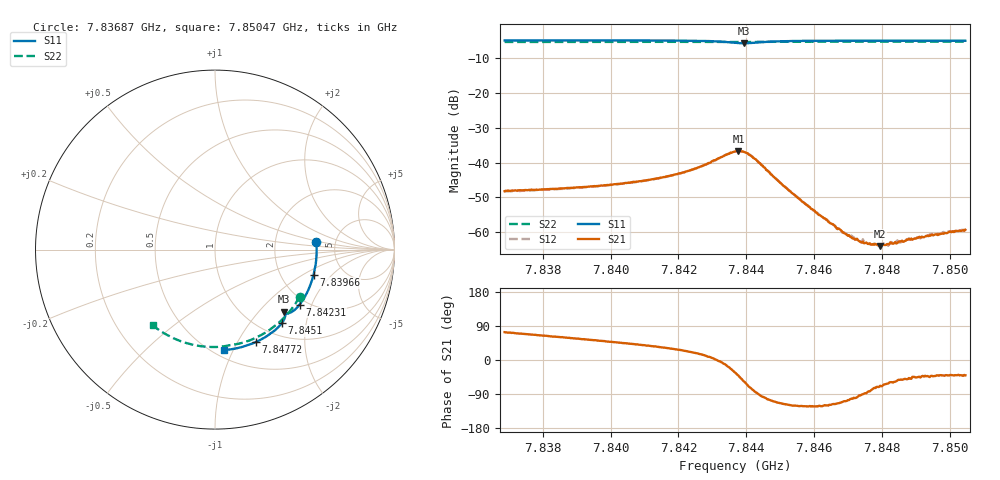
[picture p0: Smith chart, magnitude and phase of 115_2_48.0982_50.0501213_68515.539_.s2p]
#  HZ  S  RI  R  50.00
! Rohde & Schwarz Vector Network Analyzer
! Rohde-Schwarz,ZNB20-2Port,1311601062101988,3.16
! Created: UTC 12/23/2023, 3:46:11 AM
! freq[Hz]  re:S11  im:S11  re:S21  im:S21  re:S12  im:S12  re:S22  im:S22
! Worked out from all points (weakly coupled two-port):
!   401 points, 7.83687 GHz to 7.85047 GHz, reference 50 ohm
!   highest |S21| = -36.67 dB at 7.84377 GHz (marker M1); lowest = -63.9 dB at 7.84795 GHz (marker M2)
!   lowest |S11| = -5.7 dB at 7.84394 GHz (marker M3), VSWR 3.14, Z = 73.2 - j69.2 ohm
!   |S11| at or under -10 dB: nowhere
!   |S22| runs from -5.4 to -5.2 dB; largest |S21 - S12| = 0.00028
!   S11 on the Smith chart (normalised r, x): 7.83687 GHz: 3.55, +0.46; 7.83966 GHz: 3.05, -1.26; 7.84231 GHz: 1.83, -1.64; 7.8451 GHz: 1.24, -1.46; 7.84772 GHz: 0.79, -1.19; 7.85047 GHz: 0.56, -0.92
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7.836871e9  0.5644 0.0441  0.00111 0.00374  0.00117 0.00368  0.4715 -0.2622
7.839148e9  0.5568 -0.107  0.00254 0.00363  0.0025 0.0036  0.3752 -0.3888
7.839658e9  0.5493 -0.1404  0.00294 0.00361  0.00289 0.00359  0.349 -0.4129
7.840712e9  0.527 -0.2081  0.00397 0.0035  0.00389 0.00349  0.2894 -0.457
7.841426e9  0.506 -0.2529  0.00496 0.00338  0.00491 0.00336  0.246 -0.4819
7.84231e9  0.4718 -0.3063  0.00709 0.00291  0.00706 0.00291  0.1892 -0.5073
7.84316e9  0.4229 -0.3501  0.0114 -0.000247  0.0113 -4.46e-05  0.1319 -0.5245
7.84367e9  0.3872 -0.3539  0.0121 -0.00788  0.0122 -0.00764  0.0978 -0.5303
7.843772e9  0.3835 -0.3509  0.011 -0.00966  0.011 -0.00963  0.0911 -0.5312
7.843942e9  0.3829 -0.3465  0.0077 -0.012  0.00779 -0.0121  0.0803 -0.533
7.844112e9  0.387 -0.3477  0.00389 -0.0122  0.00411 -0.0123  0.0697 -0.535
7.84435e9  0.3915 -0.3589  0.000124 -0.0103  0.00017 -0.0103  0.0538 -0.538
7.845097e9  0.3733 -0.4084  -0.00204 -0.00419  -0.00203 -0.00427  0.00145 -0.5428
7.845947e9  0.3306 -0.4522  -0.00113 -0.00183  -0.00114 -0.00181  -0.0585 -0.5405
7.846695e9  0.2886 -0.4822  -0.000462 -0.00101  -0.000489 -0.00102  -0.1105 -0.5328
7.846933e9  0.2747 -0.4907  -0.000306 -0.000903  -0.000278 -0.00092  -0.1269 -0.5293
7.847341e9  0.2504 -0.5039  -3.94e-05 -0.000743  -7.95e-05 -0.000743  -0.1547 -0.5222
7.847715e9  0.2276 -0.5148  0.000138 -0.000651  0.000115 -0.000667  -0.1797 -0.5142
7.847953e9  0.2129 -0.5211  0.000237 -0.000589  0.000231 -0.000615  -0.1956 -0.5086
7.848225e9  0.1958 -0.5278  0.000344 -0.00058  0.000311 -0.000616  -0.2133 -0.5017
7.849415e9  0.1198 -0.55  0.000638 -0.000639  0.000691 -0.000625  -0.2875 -0.464
7.850469e9  0.0503 -0.56  0.000829 -0.000704  0.00081 -0.000693  -0.3478 -0.4214
